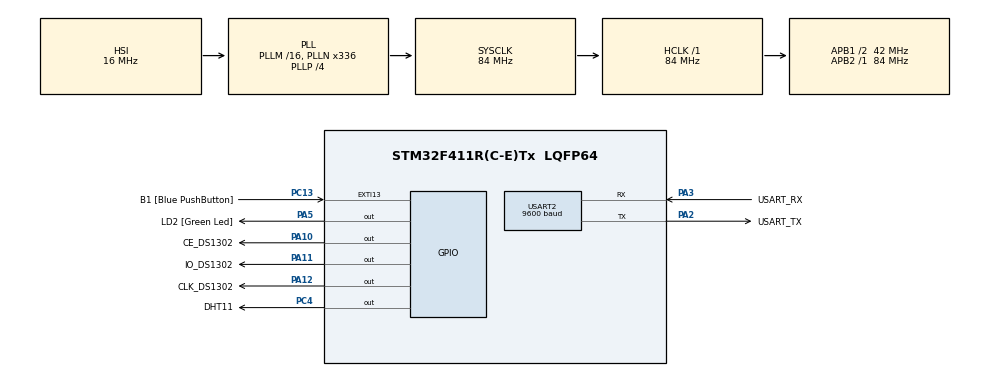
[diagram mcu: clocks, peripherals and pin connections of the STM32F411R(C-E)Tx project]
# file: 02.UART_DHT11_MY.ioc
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Dma.Request0=USART2_RX
Dma.Request1=USART2_TX
Dma.USART2_RX.0.Direction=DMA_PERIPH_TO_MEMORY
Dma.USART2_RX.0.FIFOMode=DMA_FIFOMODE_DISABLE
Dma.USART2_RX.0.Instance=DMA1_Stream5
Dma.USART2_RX.0.MemDataAlignment=DMA_MDATAALIGN_BYTE
Dma.USART2_RX.0.MemInc=DMA_MINC_ENABLE
Dma.USART2_RX.0.Mode=DMA_CIRCULAR
Dma.USART2_RX.0.PeriphDataAlignment=DMA_PDATAALIGN_BYTE
Dma.USART2_RX.0.PeriphInc=DMA_PINC_DISABLE
Dma.USART2_RX.0.Priority=DMA_PRIORITY_LOW
Dma.USART2_TX.1.Direction=DMA_MEMORY_TO_PERIPH
Dma.USART2_TX.1.FIFOMode=DMA_FIFOMODE_DISABLE
Dma.USART2_TX.1.Instance=DMA1_Stream6
Dma.USART2_TX.1.MemDataAlignment=DMA_MDATAALIGN_BYTE
Dma.USART2_TX.1.MemInc=DMA_MINC_ENABLE
Dma.USART2_TX.1.Mode=DMA_NORMAL
Dma.USART2_TX.1.PeriphDataAlignment=DMA_PDATAALIGN_BYTE
Dma.USART2_TX.1.PeriphInc=DMA_PINC_DISABLE
Dma.USART2_TX.1.Priority=DMA_PRIORITY_LOW
Mcu.Family=STM32F4
Mcu.Name=STM32F411R(C-E)Tx
Mcu.Package=LQFP64
NVIC.DMA1_Stream5_IRQn=true\:0\:0\:false\:false\:true\:false\:true\:true
NVIC.DMA1_Stream6_IRQn=true\:0\:0\:false\:false\:true\:false\:true\:true
NVIC.PriorityGroup=NVIC_PRIORITYGROUP_0
NVIC.TIM1_CC_IRQn=true\:0\:0\:false\:false\:true\:true\:true\:true
NVIC.USART2_IRQn=true\:0\:0\:false\:false\:true\:true\:true\:true
PA10.GPIO_Label=CE_DS1302
PA10.Signal=GPIO_Output
PA11.GPIO_Label=IO_DS1302
PA11.Signal=GPIO_Output
PA12.GPIO_Label=CLK_DS1302
PA12.Signal=GPIO_Output
PA13.GPIO_Label=TMS
PA13.Mode=Serial_Wire
PA13.Signal=SYS_JTMS-SWDIO
PA14.GPIO_Label=TCK
PA14.Mode=Serial_Wire
PA14.Signal=SYS_JTCK-SWCLK
PA2.GPIO_Label=USART_TX
PA2.Mode=Asynchronous
PA2.Signal=USART2_TX
PA3.GPIO_Label=USART_RX
PA3.Mode=Asynchronous
PA3.Signal=USART2_RX
PA5.GPIO_Label=LD2 [Green Led]
PA5.Signal=GPIO_Output
PB3.GPIO_Label=SWO
PB3.Signal=SYS_JTDO-SWO
PC13-ANTI_TAMP.GPIO_Label=B1 [Blue PushButton]
PC13-ANTI_TAMP.GPIO_ModeDefaultEXTI=GPIO_MODE_IT_FALLING
PC13-ANTI_TAMP.Signal=GPXTI13
PC14-OSC32_IN.Mode=LSE-External-Oscillator
PC14-OSC32_IN.Signal=RCC_OSC32_IN
PC15-OSC32_OUT.Mode=LSE-External-Oscillator
PC15-OSC32_OUT.Signal=RCC_OSC32_OUT
PC4.GPIO_Label=DHT11
PC4.GPIO_ModeDefaultOutputPP=GPIO_MODE_OUTPUT_PP
PC4.GPIO_PuPd=GPIO_NOPULL
PC4.Signal=GPIO_Output
PH0\ -\ OSC_IN.Mode=HSE-External-Clock-Source
PH0\ -\ OSC_IN.Signal=RCC_OSC_IN
PH1\ -\ OSC_OUT.Mode=HSE-External-Clock-Source
PH1\ -\ OSC_OUT.Signal=RCC_OSC_OUT
ProjectManager.HeapSize=0x200
ProjectManager.StackSize=0x400
ProjectManager.TargetToolchain=STM32CubeIDE
RCC.48MHZClocksFreq_Value=84000000
RCC.AHBFreq_Value=84000000
RCC.APB1CLKDivider=RCC_HCLK_DIV2
RCC.APB1Freq_Value=42000000
RCC.APB1TimFreq_Value=84000000
RCC.APB2Freq_Value=84000000
RCC.APB2TimFreq_Value=84000000
RCC.CortexFreq_Value=84000000
RCC.FLatency-AdvancedSettings=FLASH_LATENCY_2
RCC.HCLKFreq_Value=84000000
RCC.HSE_VALUE=8000000
RCC.HSI_VALUE=16000000
RCC.PLLN=336
RCC.PLLP=RCC_PLLP_DIV4
RCC.RCC_RTC_Clock_Source=RCC_RTCCLKSOURCE_LSI
RCC.RCC_RTC_Clock_SourceVirtual=RCC_RTCCLKSOURCE_LSI
RCC.SYSCLKFreq_VALUE=84000000
RCC.SYSCLKSource=RCC_SYSCLKSOURCE_PLLCLK
RCC.VCOOutputFreq_Value=336000000
TIM1.Channel-Output\ Compare1\ No\ Output=TIM_CHANNEL_1
TIM1.Period=10000-1
TIM1.Prescaler=84-1
TIM11.Channel=TIM_CHANNEL_1
TIM11.Period=100
TIM11.Prescaler=84-1
USART2.BaudRate=9600
USART2.VirtualMode=VM_ASYNC
VP_TIM11_VS_ClockSourceINT.Mode=Enable_Timer
VP_TIM11_VS_no_output1.Mode=Output Compare1 No Output
VP_TIM1_VS_no_output1.Mode=Output Compare1 No Output
board=NUCLEO-F411RE

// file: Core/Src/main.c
/* USER CODE BEGIN Header */
/**
  ******************************************************************************
  * @file           : main.c
  * @brief          : Main program body
  ******************************************************************************
  * @attention
  *
  * Copyright (c) 2025 STMicroelectronics.
  * All rights reserved.
  *
  * This software is licensed under terms that can be found in the LICENSE file
  * in the root directory of this software component.
  * If no LICENSE file comes with this software, it is provided AS-IS.
  *
  ******************************************************************************
  */
/* USER CODE END Header */
#include "main.h"

/* USER CODE BEGIN Includes */
#include <stdio.h>
#include <string.h>
#include <ds1302.h>
/* USER CODE END Includes */

TIM_HandleTypeDef htim1;
TIM_HandleTypeDef htim11;

UART_HandleTypeDef huart2;
DMA_HandleTypeDef hdma_usart2_rx;
DMA_HandleTypeDef hdma_usart2_tx;

void SystemClock_Config(void);
static void MX_GPIO_Init(void);
static void MX_DMA_Init(void);
static void MX_USART2_UART_Init(void);
static void MX_TIM1_Init(void);
static void MX_TIM11_Init(void);
/* USER CODE BEGIN PFP */
extern void dht11_main();
/* USER CODE END PFP */

/* USER CODE BEGIN 0 */
#ifdef __GNUC__    // Add for printf
/* With GCC, small printf (option LD Linker->Libraries->Small printf
   set to 'Yes') calls __io_putchar() */
#define PUTCHAR_PROTOTYPE int __io_putchar(int ch)
#else
#define PUTCHAR_PROTOTYPE int fputc(int ch, FILE *f)
#endif /* __GNUC__ */
/**
  * @brief  Retargets the C library printf function to the USART.
  * @param  None
  * @retval None
  */
PUTCHAR_PROTOTYPE   // Add for printf
{
  /* Place your implementation of fputc here */
  /* e.g. write a character to the USART3 and Loop until the end of transmission */
  HAL_UART_Transmit(&huart2, (uint8_t *)&ch, 1, 0xFFFF);

  return ch;
}

void delay_us(uint32_t us){
	__HAL_TIM_SET_COUNTER(&htim11, 0);
	while(__HAL_TIM_GET_COUNTER(&htim11) < us){}
}

// full or half -> callback -> buffer fill twice
uint8_t is_fulled = 0;
uint8_t is_halfed = 0;

uint8_t recv_buf[BUF_SIZE] = {0};
uint8_t recv_val[BUF_SIZE] = {0};
uint16_t uart_h = 0;

void HAL_UARTEx_RxEventCallback(UART_HandleTypeDef *huart, uint16_t Size)
{
    // Size는 buf 0부터 현재까지 수신된 데이터의 개수
	if(!is_halfed && (Size == BUF_SIZE/2)){
		is_halfed = 1;
		return;
	}

	if(!is_fulled && (Size == BUF_SIZE)){
		is_fulled = 1;
		return;
	}

	is_halfed = 0;
	is_fulled = 0;

	memset(recv_val, 0, BUF_SIZE);
	uint16_t tmp = 0;

//	printf("1: %d-%d %s\n", Size, uart_h, recv_val);

	if(Size < uart_h){ // ring buffer overwrite
		while(uart_h < BUF_SIZE){
			recv_val[tmp++] = recv_buf[uart_h++];
		}
		uart_h = 0;
	}

	while(uart_h < Size){
		recv_val[tmp++] = recv_buf[uart_h++];
	}
	recv_val[tmp] = '\0';

//	printf("2: %d-%d %s\n", Size, uart_h, recv_val);
}
/* USER CODE END 0 */

int main(void)
{

  /* MCU Configuration--------------------------------------------------------*/

  /* Reset of all peripherals, Initializes the Flash interface and the Systick. */
  HAL_Init();

  /* Configure the system clock */
  SystemClock_Config();

  /* Initialize all configured peripherals */
  MX_GPIO_Init();
  MX_DMA_Init();
  MX_USART2_UART_Init();
  MX_TIM1_Init();
  MX_TIM11_Init();
  /* USER CODE BEGIN 2 */
  HAL_TIM_OC_Start_IT(&htim1, TIM_CHANNEL_1);
  HAL_TIM_OC_Start(&htim11, TIM_CHANNEL_1);
  HAL_UARTEx_ReceiveToIdle_DMA(&huart2, recv_buf, BUF_SIZE);
  /* USER CODE END 2 */

  /* Infinite loop */
  /* USER CODE BEGIN WHILE */
  ds1302_main();
  while (1)
  {
//	  dht11_main();
    /* USER CODE END WHILE */

  }
}

void SystemClock_Config(void)
{
  RCC_OscInitTypeDef RCC_OscInitStruct = {0};
  RCC_ClkInitTypeDef RCC_ClkInitStruct = {0};

  /** Configure the main internal regulator output voltage
  */
  __HAL_RCC_PWR_CLK_ENABLE();
  __HAL_PWR_VOLTAGESCALING_CONFIG(PWR_REGULATOR_VOLTAGE_SCALE1);

  /** Initializes the RCC Oscillators according to the specified parameters
  * in the RCC_OscInitTypeDef structure.
  */
  RCC_OscInitStruct.OscillatorType = RCC_OSCILLATORTYPE_HSI;
  RCC_OscInitStruct.HSIState = RCC_HSI_ON;
  RCC_OscInitStruct.HSICalibrationValue = RCC_HSICALIBRATION_DEFAULT;
  RCC_OscInitStruct.PLL.PLLState = RCC_PLL_ON;
  RCC_OscInitStruct.PLL.PLLSource = RCC_PLLSOURCE_HSI;
  RCC_OscInitStruct.PLL.PLLM = 16;
  RCC_OscInitStruct.PLL.PLLN = 336;
  RCC_OscInitStruct.PLL.PLLP = RCC_PLLP_DIV4;
  RCC_OscInitStruct.PLL.PLLQ = 4;
  if (HAL_RCC_OscConfig(&RCC_OscInitStruct) != HAL_OK)
  {
    Error_Handler();
  }

  /** Initializes the CPU, AHB and APB buses clocks
  */
  RCC_ClkInitStruct.ClockType = RCC_CLOCKTYPE_HCLK|RCC_CLOCKTYPE_SYSCLK
                              |RCC_CLOCKTYPE_PCLK1|RCC_CLOCKTYPE_PCLK2;
  RCC_ClkInitStruct.SYSCLKSource = RCC_SYSCLKSOURCE_PLLCLK;
  RCC_ClkInitStruct.AHBCLKDivider = RCC_SYSCLK_DIV1;
  RCC_ClkInitStruct.APB1CLKDivider = RCC_HCLK_DIV2;
  RCC_ClkInitStruct.APB2CLKDivider = RCC_HCLK_DIV1;

  if (HAL_RCC_ClockConfig(&RCC_ClkInitStruct, FLASH_LATENCY_2) != HAL_OK)
  {
    Error_Handler();
  }
}

static void MX_TIM1_Init(void)
{

  TIM_MasterConfigTypeDef sMasterConfig = {0};
  TIM_OC_InitTypeDef sConfigOC = {0};
  TIM_BreakDeadTimeConfigTypeDef sBreakDeadTimeConfig = {0};

  htim1.Instance = TIM1;
  htim1.Init.Prescaler = 84-1;
  htim1.Init.CounterMode = TIM_COUNTERMODE_UP;
  htim1.Init.Period = 10000-1;
  htim1.Init.ClockDivision = TIM_CLOCKDIVISION_DIV1;
  htim1.Init.RepetitionCounter = 0;
  htim1.Init.AutoReloadPreload = TIM_AUTORELOAD_PRELOAD_DISABLE;
  if (HAL_TIM_OC_Init(&htim1) != HAL_OK)
  {
    Error_Handler();
  }
  sMasterConfig.MasterOutputTrigger = TIM_TRGO_RESET;
  sMasterConfig.MasterSlaveMode = TIM_MASTERSLAVEMODE_DISABLE;
  if (HAL_TIMEx_MasterConfigSynchronization(&htim1, &sMasterConfig) != HAL_OK)
  {
    Error_Handler();
  }
  sConfigOC.OCMode = TIM_OCMODE_TIMING;
  sConfigOC.Pulse = 0;
  sConfigOC.OCPolarity = TIM_OCPOLARITY_HIGH;
  sConfigOC.OCNPolarity = TIM_OCNPOLARITY_HIGH;
  sConfigOC.OCFastMode = TIM_OCFAST_DISABLE;
  sConfigOC.OCIdleState = TIM_OCIDLESTATE_RESET;
  sConfigOC.OCNIdleState = TIM_OCNIDLESTATE_RESET;
  if (HAL_TIM_OC_ConfigChannel(&htim1, &sConfigOC, TIM_CHANNEL_1) != HAL_OK)
  {
    Error_Handler();
  }
  sBreakDeadTimeConfig.OffStateRunMode = TIM_OSSR_DISABLE;
  sBreakDeadTimeConfig.OffStateIDLEMode = TIM_OSSI_DISABLE;
  sBreakDeadTimeConfig.LockLevel = TIM_LOCKLEVEL_OFF;
  sBreakDeadTimeConfig.DeadTime = 0;
  sBreakDeadTimeConfig.BreakState = TIM_BREAK_DISABLE;
  sBreakDeadTimeConfig.BreakPolarity = TIM_BREAKPOLARITY_HIGH;
  sBreakDeadTimeConfig.AutomaticOutput = TIM_AUTOMATICOUTPUT_DISABLE;
  if (HAL_TIMEx_ConfigBreakDeadTime(&htim1, &sBreakDeadTimeConfig) != HAL_OK)
  {
    Error_Handler();
  }

}

static void MX_TIM11_Init(void)
{

  TIM_OC_InitTypeDef sConfigOC = {0};

  htim11.Instance = TIM11;
  htim11.Init.Prescaler = 84-1;
  htim11.Init.CounterMode = TIM_COUNTERMODE_UP;
  htim11.Init.Period = 100;
  htim11.Init.ClockDivision = TIM_CLOCKDIVISION_DIV1;
  htim11.Init.AutoReloadPreload = TIM_AUTORELOAD_PRELOAD_DISABLE;
  if (HAL_TIM_Base_Init(&htim11) != HAL_OK)
  {
    Error_Handler();
  }
  if (HAL_TIM_OC_Init(&htim11) != HAL_OK)
  {
    Error_Handler();
  }
  sConfigOC.OCMode = TIM_OCMODE_TIMING;
  sConfigOC.Pulse = 0;
  sConfigOC.OCPolarity = TIM_OCPOLARITY_HIGH;
  sConfigOC.OCFastMode = TIM_OCFAST_DISABLE;
  if (HAL_TIM_OC_ConfigChannel(&htim11, &sConfigOC, TIM_CHANNEL_1) != HAL_OK)
  {
    Error_Handler();
  }

}

static void MX_USART2_UART_Init(void)
{

  huart2.Instance = USART2;
  huart2.Init.BaudRate = 9600;
  huart2.Init.WordLength = UART_WORDLENGTH_8B;
  huart2.Init.StopBits = UART_STOPBITS_1;
  huart2.Init.Parity = UART_PARITY_NONE;
  huart2.Init.Mode = UART_MODE_TX_RX;
  huart2.Init.HwFlowCtl = UART_HWCONTROL_NONE;
  huart2.Init.OverSampling = UART_OVERSAMPLING_16;
  if (HAL_UART_Init(&huart2) != HAL_OK)
  {
    Error_Handler();
  }

}

static void MX_DMA_Init(void)
{

  /* DMA controller clock enable */
  __HAL_RCC_DMA1_CLK_ENABLE();

  /* DMA interrupt init */
  /* DMA1_Stream5_IRQn interrupt configuration */
  HAL_NVIC_SetPriority(DMA1_Stream5_IRQn, 0, 0);
  HAL_NVIC_EnableIRQ(DMA1_Stream5_IRQn);
  /* DMA1_Stream6_IRQn interrupt configuration */
  HAL_NVIC_SetPriority(DMA1_Stream6_IRQn, 0, 0);
  HAL_NVIC_EnableIRQ(DMA1_Stream6_IRQn);

}

static void MX_GPIO_Init(void)
{
  GPIO_InitTypeDef GPIO_InitStruct = {0};

  /* GPIO Ports Clock Enable */
  __HAL_RCC_GPIOC_CLK_ENABLE();
  __HAL_RCC_GPIOH_CLK_ENABLE();
  __HAL_RCC_GPIOA_CLK_ENABLE();
  __HAL_RCC_GPIOB_CLK_ENABLE();

  /*Configure GPIO pin Output Level */
  HAL_GPIO_WritePin(GPIOA, LD2_Pin|CE_DS1302_Pin|IO_DS1302_Pin|CLK_DS1302_Pin, GPIO_PIN_RESET);

  /*Configure GPIO pin Output Level */
  HAL_GPIO_WritePin(DHT11_GPIO_Port, DHT11_Pin, GPIO_PIN_RESET);

  /*Configure GPIO pin : B1_Pin */
  GPIO_InitStruct.Pin = B1_Pin;
  GPIO_InitStruct.Mode = GPIO_MODE_IT_FALLING;
  GPIO_InitStruct.Pull = GPIO_NOPULL;
  HAL_GPIO_Init(B1_GPIO_Port, &GPIO_InitStruct);

  /*Configure GPIO pins : LD2_Pin CE_DS1302_Pin IO_DS1302_Pin CLK_DS1302_Pin */
  GPIO_InitStruct.Pin = LD2_Pin|CE_DS1302_Pin|IO_DS1302_Pin|CLK_DS1302_Pin;
  GPIO_InitStruct.Mode = GPIO_MODE_OUTPUT_PP;
  GPIO_InitStruct.Pull = GPIO_NOPULL;
  GPIO_InitStruct.Speed = GPIO_SPEED_FREQ_LOW;
  HAL_GPIO_Init(GPIOA, &GPIO_InitStruct);

  /*Configure GPIO pin : DHT11_Pin */
  GPIO_InitStruct.Pin = DHT11_Pin;
  GPIO_InitStruct.Mode = GPIO_MODE_OUTPUT_PP;
  GPIO_InitStruct.Pull = GPIO_NOPULL;
  GPIO_InitStruct.Speed = GPIO_SPEED_FREQ_LOW;
  HAL_GPIO_Init(DHT11_GPIO_Port, &GPIO_InitStruct);

}

void Error_Handler(void)
{
  __disable_irq();
  while (1)
  {
  }
}
